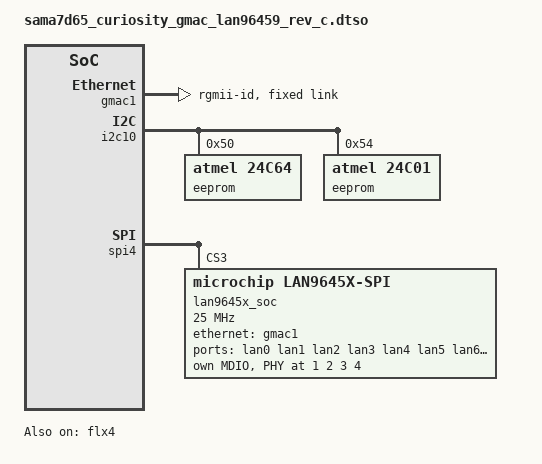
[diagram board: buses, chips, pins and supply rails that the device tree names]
// SPDX-License-Identifier: (GPL-2.0 OR MIT)
/*
 * lan966x-pcb8385-lan9645x-evb-rev-c.dts - Device Tree file for LAN966X-PCB8385
 * board driving Lan9645x EVB Rev C.
 *
 * Changes from Rev B:
 *
 * - SFP1 rate select moved GPIO 28 -> 45
 *
 * Copyright (C) 2026 Microchip Technology Inc. and its subsidiaries
 */
// SPDX-License-Identifier: (GPL-2.0 OR MIT)
/dts-v1/;
/plugin/;
#include "sama7d65-pinfunc.h"
#include "atmel-flexcom.h"
#include "clock/at91.h"
#include "pinctrl/at91.h"
#include "gpio.h"
#include "irq.h"
#include "phy-lan9645x-serdes.h"

&{/}
{
	model = "Microchip SAMA7D65 Curiosity LAN96459 Gigabit Switch";

	lan9645x_clock: lan9645x-clock {
		compatible = "fixed-clock";
		#clock-cells = <0>;
		clock-frequency = <165625000>;
	};
};

&flx4 {
	atmel,flexcom-mode = <ATMEL_FLEXCOM_MODE_SPI>;
	status = "okay";
};

&gmac1 {
	pinctrl-names = "default";
	pinctrl-0 = <&pinctrl_gmac1_default
		     &pinctrl_gmac1_mdio_gpio
		     &pinctrl_gmac1_txck_default
		     &pinctrl_gmac1_phy_irq>;
	phy-mode = "rgmii-id";
	status = "okay";

	fixed-link {
		speed = <1000>;
		full-duplex;
		pause;
	};

	ethernet-phy@1 {
		status = "disabled";
	};
};

&i2c10 {
	#address-cells = <1>;
	#size-cells = <0>;
	dmas = <0>, <0>;
	status = "okay";

	eeprom@50 {
		compatible = "atmel,24c64";
		reg = <0x50>;
		pagesize = <32>;
		status = "okay";
	};

	eeprom@54 {
		compatible = "atmel,24c01";
		reg = <0x54>;
		pagesize = <8>;
		status = "okay";
	};
};

&pioa {
	pinctrl_gmac1_mdio_gpio: gmac1-mdio-gpio {
		pinmux = <PIN_PD25__GPIO>,
			 <PIN_PD26__GPIO>;
		bias-disable;
	};

	pinctrl_spi4_default: spi4-default{
		pinmux = <PIN_PA18__FLEXCOM4_IO0>,	/* MOSI */
			 <PIN_PA17__FLEXCOM4_IO1>,	/* MISO */
			 <PIN_PA16__FLEXCOM4_IO2>,	/* SPCK */
			 <PIN_PA15__FLEXCOM4_IO3>,	/* CS0 */
			 <PIN_PA14__FLEXCOM4_IO4>,	/* CS1 */
			 <PIN_PA19__FLEXCOM4_IO5>,	/* CS2 */
			 <PIN_PA20__FLEXCOM4_IO6>;	/* CS3 */
		bias-disable;
	};
};

&spi4 {
	#address-cells = <1>;
	#size-cells = <0>;
	pinctrl-names = "default";
	pinctrl-0 = <&pinctrl_spi4_default>;
	status = "okay";

	lan9645x_soc: soc@3 {
		compatible = "microchip,lan9645x-spi";
		reg = <3>;
		spi-max-frequency = <25000000>;
		#address-cells = <1>;
		#size-cells = <0>;

		lan9645x_i2c0: i2c@4c0000 {
			reg = <0>;
			reg-names = "i2c";
			compatible = "mchp,lan9645x-i2c";
			pinctrl-0 = <&lan9645x_i2c0_sda_pins>;
			pinctrl-names = "default";
			#address-cells = <1>;
			#size-cells = <0>;
			interrupt-parent = <&lan9645x_irq>;
			interrupts-extended = <&lan9645x_irq 9>;
			i2c-sda-hold-time-ns = <300>;
			clock-frequency = <100000>;
			clocks = <&lan9645x_clock>;
		};

		i2cmux {
			compatible = "i2c-mux-pinctrl";
			#address-cells = <1>;
			#size-cells = <0>;
			i2c-parent = <&lan9645x_i2c0>;
			pinctrl-names = "i2c_sfp0", "i2c_sfp1", "idle";
			pinctrl-0 = <&lan9645x_i2c0_scl0_pins>;
			pinctrl-1 = <&lan9645x_i2c0_scl1_pins>;
			pinctrl-2 = <&lan9645x_i2cmux_pins>;

			i2c_sfp0: i2c@0 {
				reg = <0>;
				#address-cells = <1>;
				#size-cells = <0>;
			};

			i2c_sfp1: i2c@1 {
				reg = <1>;
				#address-cells = <1>;
				#size-cells = <0>;
			};
		};

		lan_sfp0: sfp0 {
			compatible = "sff,sfp";
			i2c-bus = <&i2c_sfp0>;
			tx-disable-gpios   = <&gpio_lan9645x 11 GPIO_ACTIVE_HIGH>;
			mod-def0-gpios     = <&gpio_lan9645x 29 GPIO_ACTIVE_LOW>;
			los-gpios          = <&gpio_lan9645x 42 GPIO_ACTIVE_HIGH>;
			rate-select0-gpios = <&gpio_lan9645x 39 GPIO_ACTIVE_HIGH>;
		};

		lan_sfp1: sfp1 {
			compatible = "sff,sfp";
			i2c-bus = <&i2c_sfp1>;
			tx-disable-gpios   = <&gpio_lan9645x 44 GPIO_ACTIVE_HIGH>;
			mod-def0-gpios     = <&gpio_lan9645x 12 GPIO_ACTIVE_LOW>;
			los-gpios          = <&gpio_lan9645x 8 GPIO_ACTIVE_HIGH>;
			rate-select0-gpios = <&gpio_lan9645x 45 GPIO_ACTIVE_LOW>;
		};

		mdio@4098 { // miim0
			reg = <0x4098>;
			reg-names = "gcb_miim0";
			compatible = "microchip,lan966x-miim";
			#address-cells = <1>;
			#size-cells = <0>;
			pinctrl-names = "default";
			pinctrl-0 = <&rgmii0_pins>;

			rgmii0: ethernet-phy@0 {
				reg = <0>;
				status = "disabled";
			};

			rgmii1: ethernet-phy@1 {
				reg = <1>;
				status = "disabled";
			};

		};

		mdio@40bc { // miim1
			reg = <0x40bc>, <0>;
			reg-names = "gcb_miim1", "phy";
			compatible = "microchip,lan966x-miim";
			#address-cells = <1>;
			#size-cells = <0>;

			cuphy0: ethernet-phy@1 {
				reg = <0x1>;
				interrupts-extended = <&lan9645x_irq 12>;
			};

			cuphy1: ethernet-phy@2 {
				reg = <0x2>;
				interrupts-extended = <&lan9645x_irq 13>;
			};

			cuphy2: ethernet-phy@3 {
				reg = <0x3>;
				interrupts-extended = <&lan9645x_irq 14>;
			};

			cuphy3: ethernet-phy@4 {
				reg = <0x4>;
				interrupts-extended = <&lan9645x_irq 15>;
			};

			cuphy4: ethernet-phy@5 {
				reg = <0x5>;
				status = "disabled";
				interrupts-extended = <&lan9645x_irq 16>;
			};

		};

		lan9645x_irq: interrupt-controller@52001c {
			compatible = "microchip,lan9645x-oic";
			reg = <0>;
			reg-names = "cpu_intr";
			// dst=2 is external IRQ0
			microchip,dst_target = <2>;
			microchip,drv_mode   = <1>;
			interrupt-controller;
			#interrupt-cells = <1>;
			interrupt-parent = <&pioa>;
			interrupts-extended = <&pioa PIN_PE3 IRQ_TYPE_LEVEL_LOW>;
			interrupt-names = "external-irq";
		};

		lan9645x: ethernet-switch@1 {
			compatible = "microchip,lan9645x-switch";
			reg = <0>;
			interrupts-extended = <&lan9645x_irq 27>, <&lan9645x_irq 26>, <&lan9645x_irq 17>;
			interrupt-names = "lan9645x-ptp", "lan9645x-ptp-ext", "lan9645x-ana";
			pinctrl-0 = <&lan9645x_leds>, <&lan9645x_ptp1_pins>, <&lan9645x_ptp2_pins>;
			pinctrl-names = "default";
			microchip,shadow-ports = <4 8>;
			ethernet-ports {
				#address-cells = <1>;
				#size-cells = <0>;

				lan0: port@0 {
					reg = <0>;
					label = "lan0";
					phy-mode = "gmii";
					phy-handle = <&cuphy0>;
				};

				lan1: port@1 {
					reg = <1>;
					label = "lan1";
					phy-mode = "gmii";
					phy-handle = <&cuphy1>;
					microchip,led-drive-mode = <1 3>;
				};

				lan2: port@2 {
					reg = <2>;
					label = "lan2";
					phy-mode = "gmii";
					phy-handle = <&cuphy2>;
				};

				lan3: port@3 {
					reg = <3>;
					label = "lan3";
					phy-mode = "gmii";
					phy-handle = <&cuphy3>;
				};

				lan4: port@4 {
					reg = <4>;
					label = "lan4";
					status = "disabled";
					phy-mode = "gmii";
					phy-handle = <&cuphy4>;
				};

				lan5: port@5 {
					reg = <5>;
					label = "lan5";
					phys = <&lan9645x_serdes 5 LAN9645X_SERDES6G(0)>;
					phy-mode = "sgmii";
					managed = "in-band-status";
					sfp = <&lan_sfp0>;
				};

				lan6: port@6 {
					reg = <6>;
					label = "lan6";
					phy-mode = "sgmii";
					managed = "in-band-status";
					phys = <&lan9645x_serdes 6 LAN9645X_SERDES6G(1)>;
					sfp = <&lan_sfp1>;
				};

				lan7: port@7 {
					reg = <7>;
					label = "lan7";
					phy-mode = "rgmii";
					status = "okay";
					ethernet = <&gmac1>;
					fixed-link {
						speed = <1000>;
						full-duplex;
						pause;
					};
				};

				lan8: port@8 {
					reg = <8>;
					label = "lan8";
					phy-handle = <&rgmii1>;
					phy-mode = "rgmii-id";
					status = "disabled";
				};
			};
		};

		gpio_lan9645x: pinctrl@4028 {
			compatible = "microchip,lan9645x-pinctrl";
			reg = <0>;
			reg-names = "gcb_gpio";
			gpio-controller;
			#gpio-cells = <2>;
			gpio-ranges = <&gpio_lan9645x 0 0 51>;
			interrupts-extended = <&lan9645x_irq 18>;
			interrupt-controller;
			#interrupt-cells = <2>;
			pinctrl-names = "default";
			pinctrl-0 = <&irq_pins>;

			irq_pins: irq-pins {
				pins = "GPIO_33";
				function = "irq0";
			};

			rgmii0_pins: rgmii0-pins {
				pins = "GPIO_16","GPIO_17","GPIO_18","GPIO_19","GPIO_20",
				       "GPIO_21","GPIO_22","GPIO_23","GPIO_24","GPIO_25",
				       "GPIO_26","GPIO_27";
				function = "rgmii";
			};

			lan9645x_i2c0_sda_pins: lan9645x-i2c0-sda-pins {
				pins = "GPIO_30";
				function = "i2c";
			};

			lan9645x_i2c0_scl0_pins: lan9645x-i2c0-scl0-pins {
				pins = "GPIO_31";
				function = "twi_scl_m";
				output-high;
			};

			lan9645x_i2c0_scl1_pins: lan9645x-i2c0-scl1-pins {
				pins = "GPIO_32";
				function = "twi_scl_m";
				output-high;
			};

			lan9645x_i2cmux_pins: lan9645x-i2cmux-pins {
				pins = "GPIO_31","GPIO_32";
				function = "gpio";
				output-low;
			};

			lan9645x_leds: lan9645x-leds-pins {
				pins = "GPIO_49", "GPIO_43", "GPIO_47", "GPIO_48", "GPIO_46", "GPIO_38", "GPIO_37", "GPIO_36";
				function = "phy_led";
			};

			lan9645x_ptp1_pins: lan9645x-ptp1-pins {
				pins = "GPIO_13";
				function = "ptp1";
			};

			lan9645x_ptp2_pins: lan9645x-ptp2-pins {
				pins = "GPIO_14";
				function = "ptp2";
			};
		};

		lan9645x_sgpio: gpio@40e0 {
			compatible = "microchip,lan9645x-sgpio";
			reg = <0>;
			reg-names = "gcb_sio";
			#address-cells = <1>;
			#size-cells = <0>;
			clocks = <&lan9645x_clock>;
			status = "disabled";
			microchip,sgpio-port-ranges = <5 6>;
			bus-frequency = <1000000>;

			sgpio_lan9645x_in: gpio@0 {
				compatible = "microchip,sparx5-sgpio-bank";
				reg = <0>;
				gpio-controller;
				#gpio-cells = <3>;
				ngpios = <128>;
			};

			sgpio_lan9645x_out: gpio@1 {
				compatible = "microchip,sparx5-sgpio-bank";
				reg = <1>;
				gpio-controller;
				#gpio-cells = <3>;
				ngpios = <128>;
			};
		};

		lan9645x_serdes: serdes@b0000 {
			compatible = "microchip,lan9645x-serdes";
			reg = <0>, <0>;
			reg-names = "hsio", "chip_top";
			#phy-cells = <2>;
			status = "okay";
		};

	};
};

#include "lan9645x-port-delay-evb.dtsi"
